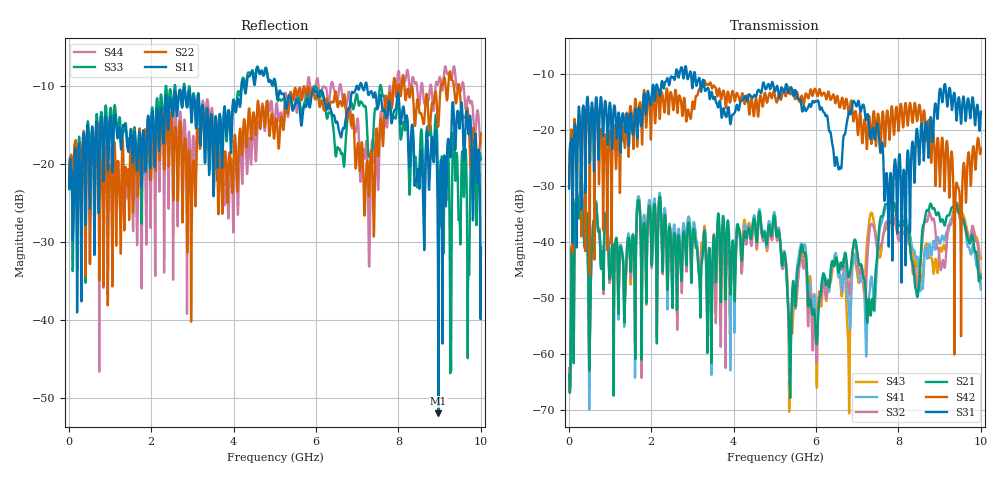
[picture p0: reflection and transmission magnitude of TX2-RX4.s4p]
# Hz S  RI  R 50
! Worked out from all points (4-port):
!   1601 points, 10 MHz to 10 GHz, reference 50 ohm
!   strongest paths, dB at 10 MHz, 2.507 GHz, 5.005 GHz, 7.503 GHz, 10 GHz:
!     S31: -30.5, -10.6, -13.1, -19.4, -16.8
!     S42: -30.0, -14.3, -13.9, -17.1, -23.3
!     S21: -63.8, -48.1, -36.1, -40.5, -46.4
!     S32: -62.6, -45.5, -36.3, -41.7, -45.8
!     S41: -65.8, -49.5, -35.4, -41.5, -48.5
!     S43: -63.9, -47.2, -35.4, -41.7, -43.0
!   lowest |S11| = -52.0 dB at 8.97 GHz (marker M1), VSWR 1.01, Z = 50.2 - j0.114 ohm
!   |S11| at or under -10 dB: start of sweep to 4.197 GHz; 5.027 GHz to 6.985 GHz (1.958 GHz wide, 32.6 % of centre); 7.236 GHz to end of sweep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
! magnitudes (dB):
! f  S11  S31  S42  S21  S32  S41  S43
! 10 MHz  -22.9  -30.5  -30.0  -63.8  -62.6  -65.8  -63.9
! 272.2 MHz  -20.7  -19.5  -18.9  -33.0  -33.0  -32.7  -32.6
! 4.986 GHz  -9.1  -12.9  -13.3  -35.3  -36.0  -34.7  -35.4
! 5.367 GHz  -11.2  -12.6  -13.5  -65.7  -55.3  -65.6  -56.8
! 7.808 GHz  -13.4  -27.7  -18.3  -32.3  -35.5  -33.2  -36.7
! 8.97 GHz  -52.0  -15.7  -22.5  -34.8  -41.2  -39.4  -43.7
! 10 GHz  -30.7  -16.8  -23.3  -46.4  -45.8  -48.5  -43.0
